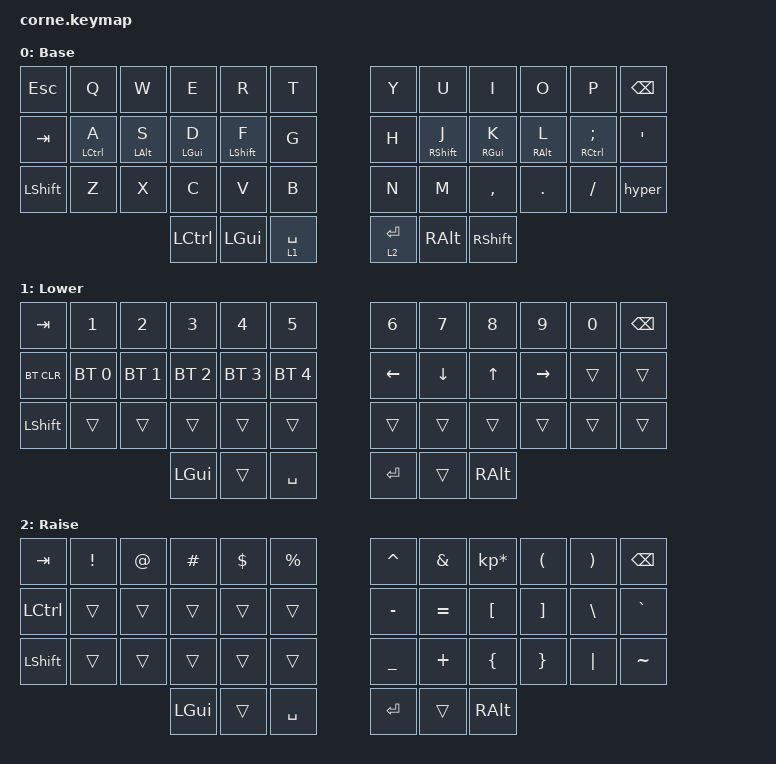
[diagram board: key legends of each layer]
/*
 * Copyright (c) 2020 The ZMK Contributors
 *
 * SPDX-License-Identifier: MIT
 */

#include <behaviors.dtsi>
#include <dt-bindings/zmk/bt.h>
#include <dt-bindings/zmk/keys.h>

/ {
    combos { compatible = "zmk,combos"; };

    behaviors {
        hml: hml {
            compatible = "zmk,behavior-hold-tap";
            label = "HML";
            bindings = <&kp>, <&kp>;

            #binding-cells = <2>;
            tapping-term-ms = <280>;
            quick-tap-ms = <175>;
            flavor = "balanced";
            hold-trigger-key-positions = <0 1 2 4 5 12 13 14 15 16 17 24 25 26 27 28 29 36 37 38 3 39 40 41>;
            hold-trigger-on-release;
            require-prior-idle-ms = <150>;
        };

        hmr: hmr {
            compatible = "zmk,behavior-hold-tap";
            label = "HMR";
            bindings = <&kp>, <&kp>;

            #binding-cells = <2>;
            tapping-term-ms = <280>;
            quick-tap-ms = <175>;
            flavor = "balanced";
            hold-trigger-on-release;
            hold-trigger-key-positions = <6 7 8 9 10 11 18 19 20 21 22 23 30 31 32 33 34 35 40 41 39 38 37 36>;
            require-prior-idle-ms = <150>;
        };
    };

    macros {
        hyper: hyper {
            compatible = "zmk,behavior-macro";
            #binding-cells = <0>;
            bindings = <&kp LSHIFT &kp LCTRL &kp LALT &kp LGUI>;
            label = "HYPER";
        };
    };

    keymap {
        compatible = "zmk,keymap";

        default_layer {
            // -----------------------------------------------------------------------------------------
            // |  TAB |  Q  |  W  |  E  |  R  |  T  |   |  Y  |  U   |  I  |  O  |  P  | BKSP |
            // | CTRL |  A  |  S  |  D  |  F  |  G  |   |  H  |  J   |  K  |  L  |  ;  |  '   |
            // | SHFT |  Z  |  X  |  C  |  V  |  B  |   |  N  |  M   |  ,  |  .  |  /  | ESC  |
            //                    | GUI | LWR | SPC |   | ENT | RSE  | ALT |

            display-name = "Base";
            bindings = <
&kp ESCAPE  &kp Q         &kp W        &kp E        &kp R          &kp T          &kp Y        &kp U          &kp I        &kp O        &kp P            &kp BSPC
&kp TAB     &hml LCTRL A  &hml LALT S  &hml LGUI D  &hml LSHIFT F  &kp G          &kp H        &hmr RSHIFT J  &hmr RGUI K  &hmr RALT L  &hmr RCTRL SEMI  &kp SQT
&kp LSHFT   &kp Z         &kp X        &kp C        &kp V          &kp B          &kp N        &kp M          &kp COMMA    &kp DOT      &kp FSLH         &hyper
                                       &kp LCTRL    &kp LGUI       &lt 1 SPACE    &lt 2 ENTER  &kp RALT       &kp RSHIFT
            >;
        };

        lower_layer {
            // -----------------------------------------------------------------------------------------
            // |  TAB |  1  |  2  |  3  |  4  |  5  |   |  6  |  7  |  8  |  9  |  0  | BKSP |
            // | BTCLR| BT1 | BT2 | BT3 | BT4 | BT5 |   | LFT | DWN |  UP | RGT |     |      |
            // | SHFT |     |     |     |     |     |   |     |     |     |     |     |      |
            //                    | GUI |     | SPC |   | ENT |     | ALT |

            display-name = "Lower";
            bindings = <
&kp TAB     &kp N1        &kp N2        &kp N3        &kp N4        &kp N5          &kp N6    &kp N7    &kp N8    &kp N9     &kp N0  &kp BSPC
&bt BT_CLR  &bt BT_SEL 0  &bt BT_SEL 1  &bt BT_SEL 2  &bt BT_SEL 3  &bt BT_SEL 4    &kp LEFT  &kp DOWN  &kp UP    &kp RIGHT  &trans  &trans
&kp LSHFT   &trans        &trans        &trans        &trans        &trans          &trans    &trans    &trans    &trans     &trans  &trans
                                        &kp LGUI      &trans        &kp SPACE       &kp RET   &trans    &kp RALT
            >;
        };

        raise_layer {
            // -----------------------------------------------------------------------------------------
            // |  TAB |  !  |  @  |  #  |  $  |  %  |   |  ^  |  &  |  *  |  (  |  )  | BKSP |
            // | CTRL |     |     |     |     |     |   |  -  |  =  |  [  |  ]  |  \  |  `   |
            // | SHFT |     |     |     |     |     |   |  _  |  +  |  {  |  }  | "|" |  ~   |
            //                    | GUI |     | SPC |   | ENT |     | ALT |

            display-name = "Raise";
            bindings = <
&kp TAB    &kp EXCL  &kp AT  &kp HASH  &kp DLLR  &kp PRCNT    &kp CARET  &kp AMPS   &kp KP_MULTIPLY  &kp LPAR  &kp RPAR  &kp BSPC
&kp LCTRL  &trans    &trans  &trans    &trans    &trans       &kp MINUS  &kp EQUAL  &kp LBKT         &kp RBKT  &kp BSLH  &kp GRAVE
&kp LSHFT  &trans    &trans  &trans    &trans    &trans       &kp UNDER  &kp PLUS   &kp LBRC         &kp RBRC  &kp PIPE  &kp TILDE
                             &kp LGUI  &trans    &kp SPACE    &kp RET    &trans     &kp RALT
            >;
        };
    };
};
